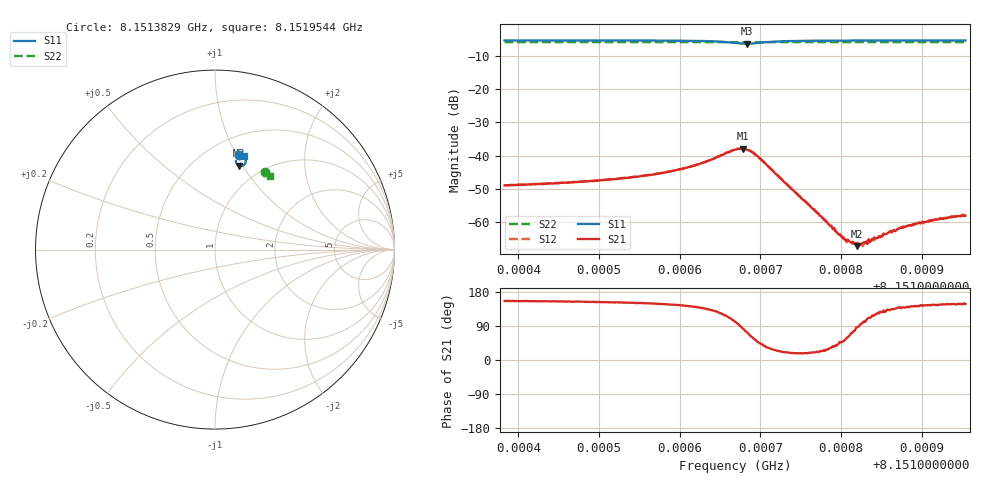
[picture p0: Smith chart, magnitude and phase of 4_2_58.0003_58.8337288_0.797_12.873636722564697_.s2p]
#  HZ  S  RI  R  50.00
! Rohde & Schwarz Vector Network Analyzer
! Rohde-Schwarz,ZNB20-2Port,1311601062101988,3.16
! Created: UTC 3/21/2024, 12:50:24 AM
! freq[Hz]  re:S11  im:S11  re:S21  im:S21  re:S12  im:S12  re:S22  im:S22
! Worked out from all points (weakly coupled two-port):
!   401 points, 8.1513829 GHz to 8.1519544 GHz, reference 50 ohm
!   highest |S21| = -37.88 dB at 8.1516787 GHz (marker M1); lowest = -67.3 dB at 8.1518201 GHz (marker M2)
!   lowest |S11| = -6.3 dB at 8.1516829 GHz (marker M3), VSWR 2.89, Z = 39.5 + j48.3 ohm
!   |S11| at or under -10 dB: nowhere
!   |S22| runs from -5.8 to -5.8 dB; largest |S21 - S12| = 0.00043
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8.1513829e9  0.1356 0.5269  -0.00324 0.00145  -0.00323 0.00152  0.2766 0.4335
8.15147863e9  0.1445 0.5244  -0.00363 0.00179  -0.00361 0.00187  0.2819 0.43
8.15153721e9  0.1512 0.5217  -0.00407 0.00225  -0.0041 0.00231  0.285 0.4278
8.15157436e9  0.1565 0.519  -0.00454 0.00283  -0.00454 0.00291  0.2871 0.4262
8.15162436e9  0.1667 0.5091  -0.00558 0.00494  -0.00556 0.00503  0.2897 0.4239
8.15166865e9  0.1619 0.4721  -0.00245 0.012  -0.00232 0.0121  0.2912 0.4211
8.15167865e9  0.1439 0.4654  0.0016 0.0127  0.0017 0.0127  0.291 0.4208
8.15168294e9  0.1351 0.4669  0.00341 0.0118  0.00357 0.0119  0.2909 0.4208
8.1516958e9  0.1178 0.4839  0.00648 0.00755  0.00655 0.00761  0.2911 0.4213
8.15172152e9  0.1229 0.5113  0.00454 0.00206  0.00465 0.00202  0.2931 0.4213
8.15176438e9  0.1385 0.5206  0.0015 0.000547  0.00158 0.000525  0.2958 0.4198
8.15180438e9  0.1467 0.5215  0.000341 0.000427  0.000323 0.000413  0.2981 0.4182
8.15181439e9  0.1483 0.5216  0.000162 0.000493  0.000123 0.000453  0.2989 0.4179
8.1518201e9  0.1491 0.5216  2.68e-05 0.00043  5.1e-05 0.000469  0.299 0.4176
8.15182867e9  0.1503 0.5214  -0.000103 0.000482  -7.62e-05 0.000469  0.2996 0.4174
8.15183439e9  0.1511 0.5212  -0.000201 0.000511  -0.000195 0.000505  0.3 0.417
8.15184868e9  0.1529 0.5213  -0.000362 0.000462  -0.000326 0.000488  0.3007 0.4164
8.15186011e9  0.1542 0.521  -0.000462 0.000525  -0.000472 0.000521  0.3013 0.4161
8.15187296e9  0.1558 0.5207  -0.000608 0.000525  -0.000594 0.000545  0.302 0.4156
8.15189582e9  0.1582 0.5203  -0.00077 0.000578  -0.000751 0.00059  0.3032 0.4146
8.15193583e9  0.1618 0.5196  -0.000992 0.000625  -0.000971 0.000668  0.3053 0.4129
8.1519544e9  0.1635 0.519  -0.00105 0.000654  -0.00107 0.000659  0.3062 0.4122
